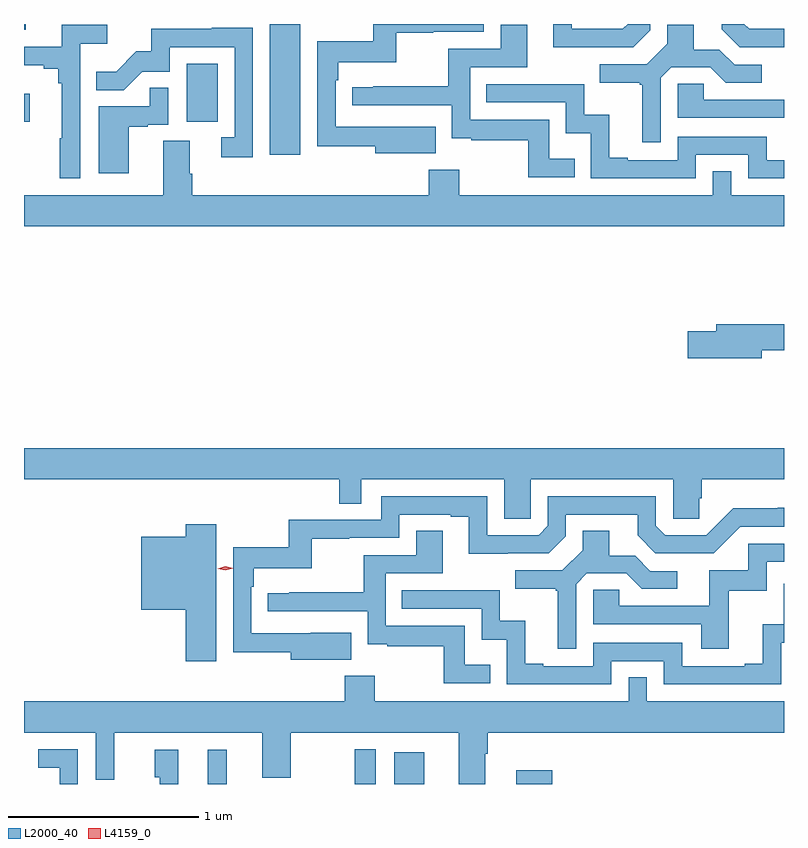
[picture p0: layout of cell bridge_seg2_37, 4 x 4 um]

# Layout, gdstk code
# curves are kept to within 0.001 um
import gdstk
lib = gdstk.Library(unit=1e-6, precision=1e-09)
def R(c, l, rs):  # rectangles x0, y0, x1, y1
    for r in rs: c.add(gdstk.rectangle(r[:2], r[2:], *l))
def P(c, l, *ps):  # polygons
    for p in ps: c.add(gdstk.Polygon(p, *l))
L2000_40 = (2000, 40)
L4159_0 = (4159, 0)

bridge_seg2_37 = lib.new_cell('bridge_seg2_37')
R(bridge_seg2_37, L2000_40, [(1118.075,627.385,1118.174,627.565), (1118.85,627.385,1118.958,627.568), (1119.056,627.385,1119.214,627.553), (1119.699,627.385,1119.887,627.457), (1118.402,630.696,1118.563,631.385), (1117.964,630.87,1118.128,631.177), (1117.108,630.871,1117.138,631.018), (1117.108,631.356,1117.117,631.385)])
P(bridge_seg2_37, L2000_40, [(1121.108,631.359),(1120.926,631.359),(1120.9,631.385),(1120.781,631.385),(1120.781,631.357),(1120.875,631.263),(1121.108,631.263)],
  [(1120.098,631.263),(1120.314,631.263),(1120.404,631.353),(1120.404,631.385),(1120.286,631.385),(1120.26,631.359),(1119.99,631.359),(1119.99,631.385),(1119.893,631.385),(1119.893,631.262),(1120.098,631.262)],
  [(1119.275,630.844),(1119.061,630.844),(1119.061,630.843),(1118.748,630.843),(1118.748,631.088),(1118.762,631.088),(1118.762,631.184),(1119.067,631.184),(1119.067,631.339),(1119.263,631.339),(1119.263,631.344),(1119.528,631.344),(1119.528,631.385),(1118.946,631.385),(1118.946,631.294),(1118.652,631.294),(1118.652,630.742),(1118.957,630.742),(1118.957,630.704),(1119.275,630.704)],
  [(1117.404,631.28),(1117.546,631.28),(1117.546,631.382),(1117.307,631.382),(1117.307,631.266),(1117.108,631.266),(1117.108,631.169),(1117.211,631.169),(1117.211,631.15),(1117.288,631.15),(1117.288,631.073),(1117.307,631.073),(1117.307,630.785),(1117.296,630.785),(1117.296,630.573),(1117.404,630.573)],
  [(1120.458,631.101),(1120.515,631.158),(1120.721,631.158),(1120.802,631.077),(1120.99,631.077),(1120.99,631.17),(1120.848,631.17),(1120.768,631.25),(1120.633,631.25),(1120.633,631.382),(1120.493,631.382),(1120.493,631.28),(1120.386,631.173),(1120.137,631.173),(1120.137,631.076),(1120.35,631.076),(1120.35,631.065),(1120.361,631.065),(1120.361,630.762),(1120.458,630.762)],
  [(1120.007,630.676),(1119.873,630.676),(1119.873,630.882),(1119.456,630.882),(1119.456,631.158),(1119.757,631.158),(1119.757,631.382),(1119.617,631.382),(1119.617,631.254),(1119.34,631.254),(1119.34,631.058),(1118.947,631.058),(1118.947,631.053),(1118.835,631.053),(1118.835,630.957),(1119.36,630.957),(1119.36,630.785),(1119.463,630.785),(1119.463,630.774),(1119.762,630.774),(1119.762,630.579),(1120.007,630.579)],
  [(1118.313,631.364),(1118.095,631.364),(1118.095,631.359),(1117.777,631.359),(1117.777,631.242),(1117.7,631.242),(1117.593,631.135),(1117.489,631.135),(1117.489,631.036),(1117.633,631.036),(1117.731,631.134),(1117.875,631.134),(1117.875,631.263),(1118.217,631.263),(1118.217,630.789),(1118.145,630.789),(1118.145,630.684),(1118.313,630.684)],
  [(1121.108,630.987),(1120.685,630.987),(1120.685,631.071),(1120.548,631.071),(1120.548,630.891),(1121.108,630.891)],
  [(1120.644,630.696),(1120.92,630.696),(1120.92,630.573),(1121.108,630.573),(1121.108,630.669),(1121.016,630.669),(1121.016,630.792),(1120.548,630.792),(1120.548,630.669),(1120.285,630.669),(1120.285,630.682),(1120.189,630.682),(1120.189,630.907),(1120.056,630.907),(1120.056,631.068),(1119.541,631.068),(1119.541,630.972),(1119.96,630.972),(1119.96,630.809),(1120.092,630.809),(1120.092,630.573),(1120.644,630.573)],
  [(1117.66,630.843),(1117.76,630.843),(1117.76,630.855),(1117.866,630.855),(1117.866,631.049),(1117.771,631.049),(1117.771,630.951),(1117.502,630.951),(1117.502,630.6),(1117.66,630.6)],
  [(1117.981,630.596),(1117.981,630.77),(1117.841,630.77),(1117.841,630.484),(1117.108,630.484),(1117.108,630.32),(1121.108,630.32),(1121.108,630.484),(1120.83,630.484),(1120.83,630.611),(1120.734,630.611),(1120.734,630.484),(1119.399,630.484),(1119.399,630.619),(1119.239,630.619),(1119.239,630.484),(1117.994,630.484),(1117.994,630.596)],
  [(1120.99,629.668),(1121.108,629.668),(1121.108,629.804),(1120.751,629.804),(1120.751,629.768),(1120.602,629.768),(1120.602,629.626),(1120.99,629.626)],
  [(1119.774,628.988),(1120.524,628.988),(1120.524,628.78),(1120.661,628.78),(1120.661,628.89),(1120.676,628.89),(1120.676,628.988),(1121.108,628.988),(1121.108,629.152),(1117.108,629.152),(1117.108,628.988),(1118.767,628.988),(1118.767,628.861),(1118.883,628.861),(1118.883,628.988),(1119.635,628.988),(1119.635,628.78),(1119.774,628.78)],
  [(1118.831,628.18),(1118.304,628.179),(1118.304,628.424),(1118.318,628.424),(1118.318,628.52),(1118.623,628.52),(1118.623,628.675),(1118.819,628.675),(1118.819,628.68),(1119.084,628.68),(1119.084,628.803),(1119.353,628.803),(1119.353,628.791),(1119.449,628.791),(1119.449,628.598),(1119.87,628.599),(1119.96,628.689),(1119.96,628.803),(1120.337,628.803),(1120.337,628.693),(1120.431,628.599),(1120.737,628.599),(1120.878,628.74),(1121.108,628.74),(1121.108,628.84),(1121.076,628.84),(1121.076,628.837),(1120.84,628.837),(1120.698,628.695),(1120.482,628.695),(1120.434,628.743),(1120.434,628.899),(1119.864,628.899),(1119.864,628.743),(1119.816,628.695),(1119.546,628.695),(1119.546,628.899),(1118.988,628.899),(1118.988,628.776),(1118.502,628.776),(1118.502,628.63),(1118.208,628.63),(1118.208,628.078),(1118.513,628.078),(1118.513,628.04),(1118.831,628.04)],
  [(1118.119,628.753),(1117.958,628.753),(1117.958,628.687),(1117.724,628.687),(1117.724,628.301),(1117.958,628.301),(1117.958,628.032),(1118.119,628.032)],
  [(1119.563,628.012),(1119.429,628.012),(1119.429,628.218),(1119.012,628.218),(1119.012,628.494),(1119.313,628.494),(1119.313,628.718),(1119.173,628.718),(1119.173,628.59),(1118.896,628.59),(1118.896,628.394),(1118.503,628.394),(1118.503,628.389),(1118.391,628.389),(1118.391,628.293),(1118.916,628.293),(1118.916,628.121),(1119.019,628.121),(1119.019,628.11),(1119.318,628.11),(1119.318,627.915),(1119.563,627.915)],
  [(1120.014,628.437),(1120.071,628.494),(1120.277,628.494),(1120.358,628.413),(1120.546,628.413),(1120.546,628.506),(1120.404,628.506),(1120.324,628.586),(1120.189,628.586),(1120.189,628.718),(1120.049,628.718),(1120.049,628.616),(1119.942,628.509),(1119.693,628.509),(1119.693,628.412),(1119.906,628.412),(1119.906,628.401),(1119.917,628.401),(1119.917,628.098),(1120.014,628.098)],
  [(1120.817,628.401),(1121.016,628.401),(1121.016,628.554),(1121.108,628.554),(1121.108,628.65),(1120.92,628.65),(1120.92,628.509),(1120.715,628.509),(1120.715,628.323),(1120.241,628.323),(1120.241,628.407),(1120.104,628.407),(1120.104,628.227),(1120.673,628.227),(1120.673,628.098),(1120.817,628.098)],
  [(1120.2,628.032),(1120.476,628.032),(1120.476,627.909),(1121.094,627.909),(1121.094,628.128),(1121.108,628.128),(1121.108,628.438),(1121.106,628.438),(1121.106,628.226),(1120.997,628.226),(1120.997,628.018),(1120.901,628.018),(1120.901,628.005),(1120.572,628.005),(1120.572,628.128),(1120.104,628.128),(1120.104,628.005),(1119.841,628.005),(1119.841,628.018),(1119.745,628.018),(1119.745,628.243),(1119.612,628.243),(1119.612,628.404),(1119.097,628.404),(1119.097,628.308),(1119.516,628.308),(1119.516,628.145),(1119.648,628.145),(1119.648,627.909),(1120.2,627.909)],
  [(1119.535,627.544),(1119.548,627.544),(1119.548,627.656),(1121.108,627.656),(1121.108,627.82),(1120.386,627.82),(1120.386,627.947),(1120.29,627.947),(1120.29,627.82),(1118.955,627.82),(1118.955,627.955),(1118.795,627.955),(1118.795,627.82),(1117.108,627.82),(1117.108,627.656),(1117.485,627.656),(1117.485,627.408),(1117.583,627.408),(1117.583,627.656),(1118.363,627.656),(1118.363,627.417),(1118.511,627.417),(1118.511,627.656),(1119.395,627.656),(1119.395,627.385),(1119.535,627.385)],
  [(1117.392,627.567),(1117.183,627.567),(1117.183,627.471),(1117.296,627.471),(1117.296,627.385),(1117.392,627.385)],
  [(1117.92,627.565),(1117.796,627.565),(1117.796,627.42),(1117.822,627.42),(1117.822,627.385),(1117.92,627.385)])
P(bridge_seg2_37, L4159_0, [(1118.168,628.51),(1118.127,628.518),(1118.127,628.519),(1118.127,628.519),(1118.167,628.53),(1118.208,628.521),(1118.209,628.521),(1118.208,628.52)])

lib.write_gds('bridge_seg2_37.gds')
